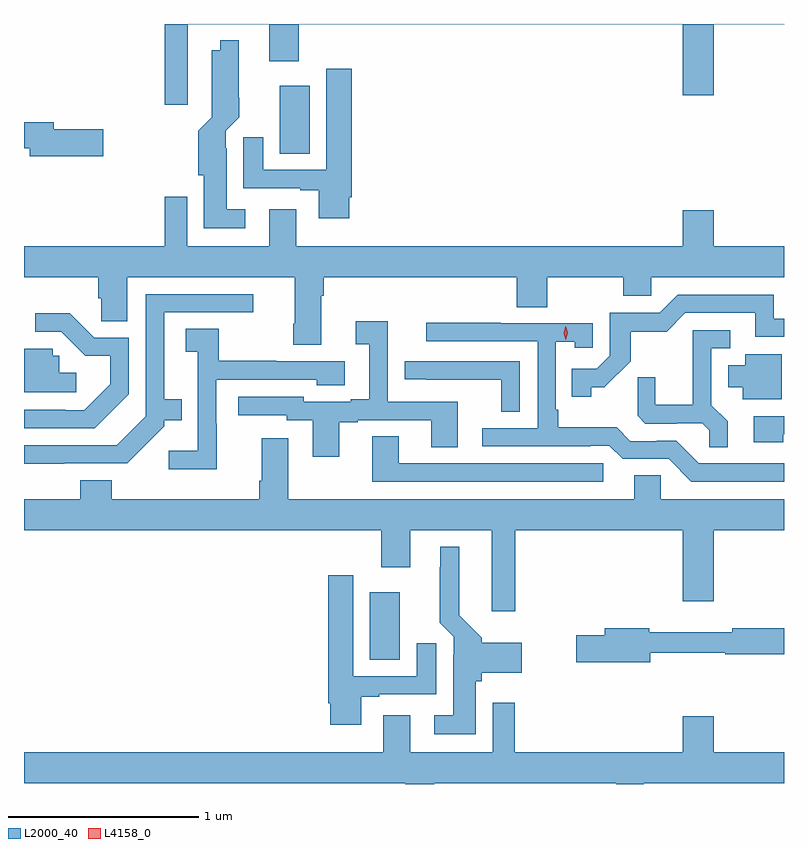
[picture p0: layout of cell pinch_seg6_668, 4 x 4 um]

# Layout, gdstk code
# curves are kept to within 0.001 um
import gdstk
lib = gdstk.Library(unit=1e-6, precision=1e-09)
def R(c, l, rs):  # rectangles x0, y0, x1, y1
    for r in rs: c.add(gdstk.rectangle(r[:2], r[2:], *l))
def P(c, l, *ps):  # polygons
    for p in ps: c.add(gdstk.Polygon(p, *l))
L2000_40 = (2000, 40)
L4158_0 = (4158, 0)

pinch_seg6_668 = lib.new_cell('pinch_seg6_668')
R(pinch_seg6_668, L2000_40, [(439.085,939.994,439.243,940.351), (438.611,942.658,438.769,943.015)])
P(pinch_seg6_668, L2000_40, [(438.127,943.34),(438.557,943.34),(438.557,943.146),(438.71,943.146),(438.71,943.34),(440.732,943.34),(440.732,942.966),(440.896,942.966),(440.896,943.34),(441.265,943.34),(441.265,943.341),(437.265,943.341),(437.265,943.34),(438.005,943.34),(438.005,942.915),(438.127,942.915)],
  [(438.43,942.367),(438.331,942.367),(438.331,942.686),(438.327,942.686),(438.327,942.78),(438.397,942.85),(438.396,943.255),(438.299,943.255),(438.299,943.204),(438.254,943.204),(438.254,942.85),(438.182,942.778),(438.182,942.546),(438.212,942.546),(438.212,942.266),(438.43,942.266)],
  [(438.976,942.43),(438.989,942.43),(438.989,943.105),(438.857,943.105),(438.857,942.573),(438.523,942.573),(438.523,942.745),(438.419,942.745),(438.419,942.477),(438.719,942.477),(438.719,942.465),(438.815,942.465),(438.815,942.318),(438.976,942.318)],
  [(437.683,942.788),(437.422,942.788),(437.422,942.824),(437.265,942.824),(437.265,942.688),(437.294,942.688),(437.294,942.646),(437.683,942.646)],
  [(441.265,942.172),(440.896,942.172),(440.896,942.361),(440.732,942.361),(440.732,942.172),(438.697,942.172),(438.697,942.367),(438.557,942.367),(438.557,942.172),(438.123,942.172),(438.123,942.433),(438.007,942.433),(438.007,942.172),(437.265,942.172),(437.265,942.008),(437.657,942.008),(437.657,941.898),(437.671,941.898),(437.671,941.776),(437.809,941.776),(437.809,942.008),(438.689,942.008),(438.689,941.764),(438.682,941.764),(438.682,941.652),(438.829,941.652),(438.829,941.912),(438.842,941.912),(438.842,942.008),(439.859,942.008),(439.859,941.851),(440.019,941.851),(440.019,942.008),(440.419,942.008),(440.419,941.91),(440.565,941.91),(440.565,942.008),(441.265,942.008)],
  [(437.477,941.028),(437.808,941.028),(438.003,941.223),(438.003,941.255),(438.095,941.255),(438.095,941.365),(438.004,941.365),(438.004,941.823),(438.472,941.823),(438.472,941.919),(437.907,941.919),(437.907,941.277),(437.754,941.124),(437.265,941.124),(437.265,941.027)],
  [(440.25,941.429),(440.32,941.429),(440.458,941.566),(440.458,941.722),(440.647,941.722),(440.745,941.82),(441.113,941.82),(441.113,941.694),(441.265,941.694),(441.265,941.79),(441.212,941.79),(441.212,941.916),(440.706,941.916),(440.61,941.82),(440.349,941.82),(440.349,941.595),(440.28,941.526),(440.149,941.526),(440.149,941.379),(440.25,941.379)],
  [(437.817,941.393),(437.817,941.691),(437.634,941.691),(437.506,941.819),(437.325,941.819),(437.325,941.721),(437.46,941.721),(437.587,941.594),(437.72,941.594),(437.72,941.444),(437.583,941.307),(437.483,941.307),(437.483,941.31),(437.265,941.31),(437.265,941.214),(437.638,941.214)],
  [(438.925,941.244),(439.021,941.244),(439.021,941.256),(439.409,941.256),(439.409,941.113),(439.549,941.113),(439.549,941.352),(439.179,941.352),(439.179,941.776),(439.011,941.776),(439.011,941.656),(439.082,941.656),(439.082,941.365),(438.986,941.365),(438.986,941.352),(438.738,941.352),(438.738,941.379),(438.393,941.379),(438.393,941.283),(438.648,941.283),(438.648,941.256),(438.785,941.256),(438.785,941.064),(438.925,941.064)],
  [(441.265,941.028),(440.817,941.028),(440.697,941.148),(440.596,941.148),(440.596,941.145),(440.457,941.145),(440.384,941.218),(440.077,941.218),(440.077,941.311),(440.064,941.311),(440.064,941.669),(440.163,941.669),(440.163,941.637),(440.259,941.637),(440.259,941.766),(439.775,941.766),(439.775,941.769),(439.383,941.769),(439.383,941.67),(439.968,941.67),(439.968,941.214),(439.677,941.214),(439.677,941.118),(440.246,941.118),(440.246,941.121),(440.346,941.121),(440.415,941.052),(440.658,941.052),(440.778,940.932),(441.265,940.932)],
  [(438.279,941.237),(438.276,941.237),(438.276,941.469),(438.807,941.469),(438.807,941.441),(438.952,941.441),(438.952,941.565),(438.593,941.565),(438.593,941.568),(438.289,941.568),(438.289,941.738),(438.117,941.738),(438.117,941.617),(438.18,941.617),(438.18,941.095),(438.027,941.095),(438.027,940.997),(438.279,940.997)],
  [(440.969,941.249),(440.883,941.335),(440.883,941.634),(440.983,941.634),(440.983,941.73),(440.786,941.73),(440.786,941.338),(440.588,941.338),(440.588,941.481),(440.494,941.481),(440.494,941.279),(440.535,941.238),(440.7,941.238),(440.7,941.241),(440.834,941.241),(440.871,941.204),(440.871,941.113),(440.969,941.113)],
  [(437.539,941.506),(437.451,941.506),(437.451,941.595),(437.415,941.595),(437.415,941.631),(437.265,941.631),(437.265,941.403),(437.539,941.403)],
  [(441.253,941.602),(441.062,941.602),(441.062,941.545),(440.972,941.545),(440.972,941.429),(441.047,941.429),(441.047,941.366),(441.253,941.366)],
  [(439.875,941.565),(439.269,941.565),(439.269,941.47),(439.381,941.47),(439.381,941.469),(439.777,941.469),(439.777,941.299),(439.875,941.299)],
  [(441.261,941.181),(441.265,941.181),(441.265,941.277),(441.105,941.277),(441.105,941.141),(441.261,941.141)],
  [(440.314,941.028),(439.237,941.028),(439.237,941.171),(439.097,941.171),(439.097,940.932),(440.314,940.932)],
  [(439.85,940.676),(440.732,940.676),(440.732,940.302),(440.896,940.302),(440.896,940.676),(441.265,940.676),(441.265,940.84),(440.616,940.84),(440.616,940.967),(440.477,940.967),(440.477,940.84),(438.655,940.84),(438.655,941.161),(438.515,941.161),(438.515,940.936),(438.503,940.936),(438.503,940.84),(437.726,940.84),(437.726,940.939),(437.561,940.939),(437.561,940.84),(437.265,940.84),(437.265,940.676),(439.145,940.676),(439.145,940.482),(439.297,940.482),(439.297,940.676),(439.727,940.676),(439.727,940.251),(439.85,940.251)],
  [(439.642,939.882),(439.673,939.882),(439.673,939.926),(439.885,939.926),(439.885,940.084),(439.673,940.084),(439.673,940.11),(439.555,940.228),(439.555,940.591),(439.457,940.591),(439.457,940.481),(439.454,940.481),(439.454,940.189),(439.527,940.116),(439.527,940.022),(439.523,940.022),(439.523,939.703),(439.425,939.703),(439.425,939.602),(439.642,939.602)],
  [(439.039,939.801),(439.135,939.801),(439.135,939.813),(439.435,939.813),(439.435,940.081),(439.331,940.081),(439.331,939.909),(438.997,939.909),(438.997,940.441),(438.866,940.441),(438.866,939.766),(438.878,939.766),(438.878,939.654),(439.039,939.654)],
  [(440.56,940.032),(440.956,940.032),(440.956,940.024),(441.265,940.024),(441.265,940.16),(440.992,940.16),(440.992,940.141),(440.556,940.141),(440.556,940.16),(440.321,940.16),(440.321,940.124),(440.172,940.124),(440.172,939.982),(440.56,939.982)],
  [(439.423,939.344),(440.383,939.344),(440.383,939.341),(440.527,939.341),(440.527,939.344),(441.265,939.344),(441.265,939.508),(440.896,939.508),(440.896,939.697),(440.732,939.697),(440.732,939.508),(439.847,939.508),(439.847,939.769),(439.731,939.769),(439.731,939.508),(439.297,939.508),(439.297,939.703),(439.157,939.703),(439.157,939.508),(437.265,939.508),(437.265,939.344),(439.271,939.344),(439.271,939.341),(439.423,939.341)])
P(pinch_seg6_668, L4158_0, [(440.117,941.679),(440.117,941.679),(440.107,941.715),(440.117,941.751),(440.117,941.751),(440.117,941.751),(440.127,941.715),(440.117,941.679)])

lib.write_gds('pinch_seg6_668.gds')
